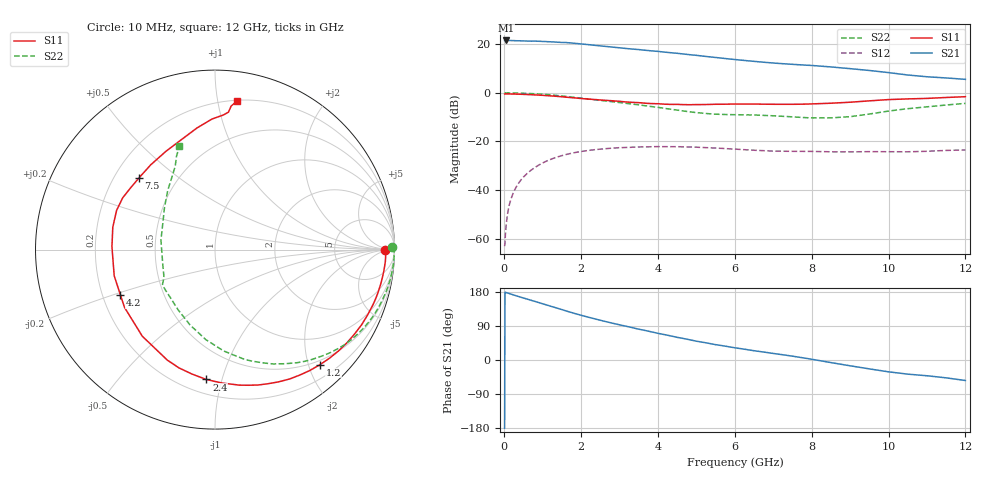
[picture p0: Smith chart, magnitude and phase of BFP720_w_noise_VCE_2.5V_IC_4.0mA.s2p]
! Infineon Technologies  Discrete & RF Semiconductors
! BFP720
! VCE =  2.5 V,  IC =  4.0 mA
! Common Emitter S-Parameters:  Aug 2012
# GHz  S  MA  R  50
!  f  S11  S21  S12  S22
! GHz  MAG  ANG  MAG  ANG  MAG  ANG  MAG  ANG
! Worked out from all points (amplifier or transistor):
!   105 points, 10 MHz to 12 GHz, reference 50 ohm
!   highest |S21| = 21.6 dB at 50 MHz (marker M1)
!   |S21| within 3 dB of that: start of sweep to 2.987 GHz
!   unconditionally stable (mu >= 1): start of sweep to 10.74 MHz; 6.801 GHz to 11.58 GHz
!   at 300 MHz: K = 0.04, MSG = 30.3 dB, |S12| = -39.1 dB
!   at 3.6 GHz: K = 0.43, MSG = 19.9 dB, |S12| = -22.2 dB
!   at 12 GHz: K = 0.84, MSG = 14.5 dB, |S12| = -23.5 dB
!   lowest NFmin = 0.37 dB at 450 MHz
!   S11 on the Smith chart (normalised r, x): 10 MHz: 37, -4; 1.2 GHz: 0.42, -2.20; 2.4 GHz: 0.29, -0.89; 4.2 GHz: 0.28, -0.21; 7.5 GHz: 0.30, +0.37; 12 GHz: 0.21, +1.13
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0.01  0.9479 -0.3  11.92 -179.9  0.0007 0.0  0.9876 0.7
0.02  0.9516 -0.7  11.85 178.8  0.0008 96.6  0.9985 -0.5
0.05  0.9516 -1.9  11.99 177.9  0.0019 76.7  0.9979 -1.4
0.13  0.9502 -5.0  11.95 175.4  0.0049 86.5  0.9979 -3.6
0.25  0.9452 -9.7  11.91 171.4  0.0093 84.0  0.995 -6.8
0.8  0.9083 -31.4  11.62 154.5  0.0293 70.0  0.9586 -22.2
1.2  0.8679 -47.6  11.25 142.2  0.0425 59.7  0.9106 -33.4
1.6  0.8174 -64.4  10.88 129.8  0.0537 49.6  0.8468 -44.0
2.1  0.7543 -83.4  9.988 115.4  0.0638 37.9  0.7618 -56.2
2.4  0.7251 -93.8  9.445 107.4  0.0684 31.7  0.7157 -62.9
2.8  0.6889 -107.0  8.78 97.5  0.0728 24.4  0.6588 -71.0
3.2  0.6478 -119.8  8.156 88.4  0.0754 17.9  0.6046 -78.7
3.5  0.6301 -130.0  7.784 81.3  0.0772 13.2  0.5674 -85.0
4.1  0.5901 -150.9  6.999 68.4  0.0783 4.9  0.4899 -98.1
4.2  0.5841 -154.5  6.868 66.4  0.0782 3.6  0.4767 -100.4
5  0.5744 178.3  5.922 49.6  0.0762 -6.0  0.3929 -121.7
6.1  0.5893 156.8  4.775 30.8  0.0689 -14.5  0.3545 -142.9
7.5  0.5821 136.7  3.869 10.1  0.0627 -16.5  0.3211 -152.4
8.5  0.6122 116.5  3.42 -6.8  0.0613 -18.3  0.3058 170.1
9.5  0.6853 98.4  2.89 -23.4  0.0617 -18.8  0.3667 140.1
10.5  0.7518 86.4  2.333 -37.3  0.0613 -19.6  0.4729 120.3
12  0.8345 81.7  1.899 -54.1  0.0668 -22.2  0.6081 109.0
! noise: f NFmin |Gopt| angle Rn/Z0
0.45  0.37  0.56  4  0.21
1.8  0.49  0.52  27  0.15
2.4  0.52  0.39  66  0.2
5.5  0.72  0.26  73  0.11
10  1.02  0.41  -96  0.21
